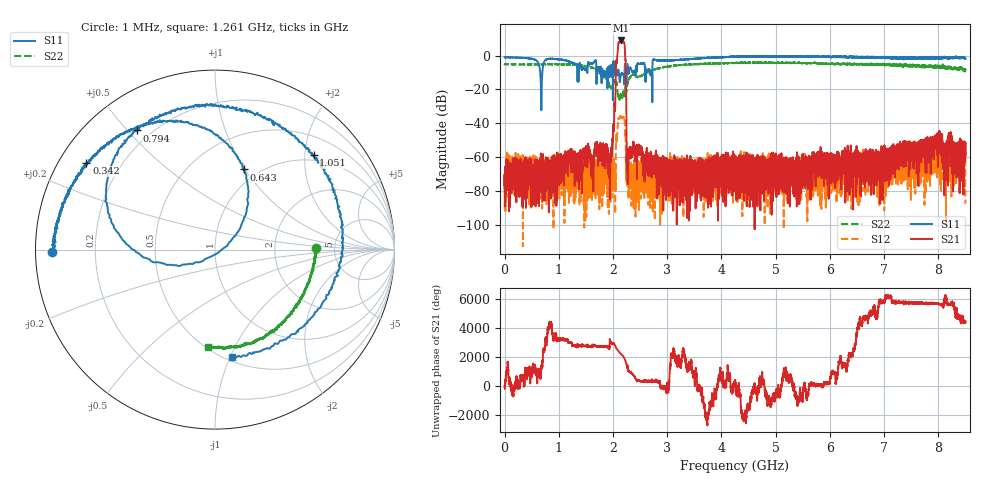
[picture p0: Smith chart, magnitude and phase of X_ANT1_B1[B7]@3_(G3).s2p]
#  HZ  S  RI  R  50.00
! Rohde & Schwarz Vector Network Analyzer
! Rohde-Schwarz,ZNBT8-20Port,1318700624101681,3.50
! Created: UTC 7/15/2025, 2:13:26 PM
! freq[Hz]  re:S1010  im:S1010  re:S0310  im:S0310  re:S1003  im:S1003  re:S33  im:S33
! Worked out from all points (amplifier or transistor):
!   8500 points, 1 MHz to 8.5 GHz, reference 50 ohm
!   highest |S21| = 9.0 dB at 2.142 GHz (marker M1)
!   |S21| within 3 dB of that: 2.093 GHz to 2.215 GHz (122 MHz wide, 5.66 % of centre)
!   unconditionally stable (mu >= 1): start of sweep to end of sweep
!   at 1.417 GHz: K = 685689.11, MAG = -56.5 dB, |S12| = -68.3 dB
!   at 4.251 GHz: K = 177332.09, MAG = -58.4 dB, |S12| = -63.4 dB
!   at 8.5 GHz: K = 3220215.34, MAG = -53.9 dB, |S12| = -87.6 dB
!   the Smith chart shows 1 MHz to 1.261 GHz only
!   S11 on the Smith chart (normalised r, x): 1 MHz: 0.05, -0.01; 342 MHz: 0.08, +0.30; 643 MHz: 0.86, +0.99; 794 MHz: 0.15, +0.53; 1.051 GHz: 0.87, +2.19; 1.261 GHz: 0.53, -1.01
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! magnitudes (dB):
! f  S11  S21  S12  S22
! 1 MHz  -0.8  -70.6  -81.2  -5.0
! 64 MHz  -0.9  -73.9  -62.6  -5.1
! 342 MHz  -1.3  -74.0  -61.8  -5.2
! 643 MHz  -6.5  -74.3  -68.6  -5.1
! 794 MHz  -2.0  -65.2  -86.3  -5.0
! 1.051 GHz  -2.4  -59.4  -69.9  -5.1
! 1.261 GHz  -4.3  -59.5  -71.2  -5.3
! 1.418 GHz  -8.3  -60.9  -73.9  -5.8
! 1.951 GHz  -8.2  -61.9  -72.6  -18.4
! 2.012 GHz  -3.6  -43.1  -62.3  -16.2
! 2.089 GHz  -9.6  4.3  -40.8  -22.7
! 2.142 GHz  -11.8  9.0  -35.7  -23.3
! 2.205 GHz  -14.8  7.8  -36.9  -21.8
! 2.293 GHz  -10.1  -58.5  -68.9  -14.2
! 2.49 GHz  -4.9  -58.5  -70.4  -12.2
! 2.834 GHz  -2.8  -67.8  -80.1  -7.6
! 4.251 GHz  -0.6  -69.2  -63.4  -4.2
! 5.667 GHz  -0.3  -62.4  -67.9  -4.4
! 7.084 GHz  -1.1  -63.0  -60.8  -5.1
! 8.007 GHz  -1.4  -49.3  -65.0  -6.5
! 8.456 GHz  -1.1  -69.2  -66.5  -8.2
! 8.5 GHz  -1.8  -59.2  -87.6  -8.4
